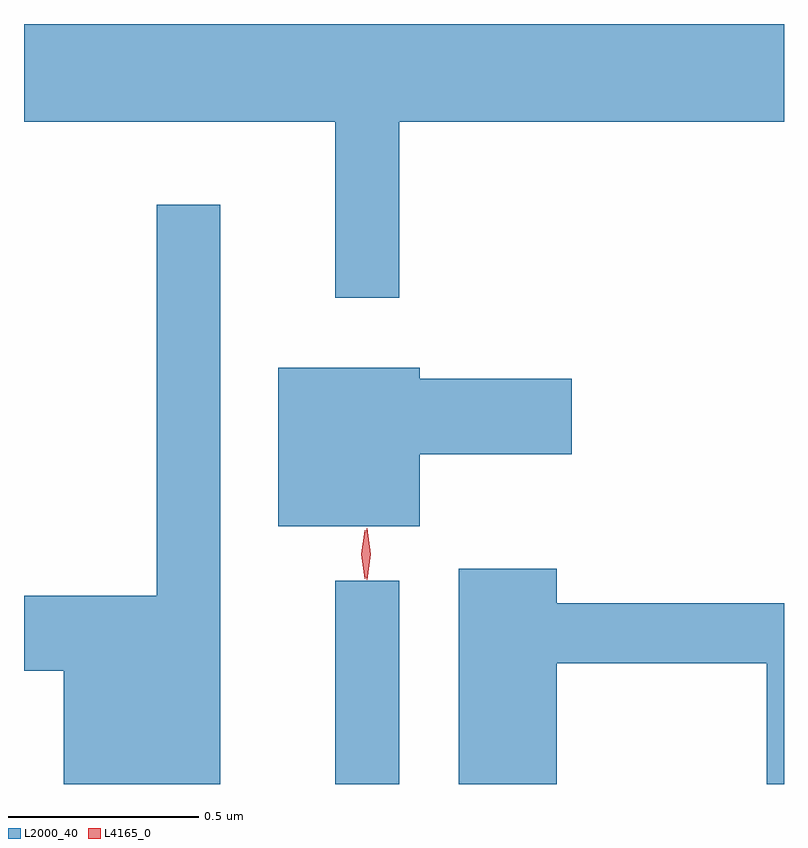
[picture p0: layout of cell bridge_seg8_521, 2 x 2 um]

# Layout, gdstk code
import gdstk
lib = gdstk.Library(unit=1e-6, precision=1e-09)
def R(c, l, rs):  # rectangles x0, y0, x1, y1
    for r in rs: c.add(gdstk.rectangle(r[:2], r[2:], *l))
def P(c, l, *ps):  # polygons
    for p in ps: c.add(gdstk.Polygon(p, *l))
L2000_40 = (2000, 40)
L4165_0 = (4165, 0)

bridge_seg8_521 = lib.new_cell('bridge_seg8_521')
R(bridge_seg8_521, L2000_40, [(261.891,1861.313,262.059,1861.848)])
P(bridge_seg8_521, L2000_40, [(262.059,1863.056),(263.072,1863.056),(263.072,1863.313),(261.072,1863.313),(261.072,1863.056),(261.891,1863.056),(261.891,1862.593),(262.059,1862.593)],
  [(261.589,1862.838),(261.421,1862.838),(261.421,1861.809),(261.072,1861.809),(261.072,1861.611),(261.176,1861.611),(261.176,1861.313),(261.589,1861.313)],
  [(262.114,1862.181),(262.514,1862.181),(262.514,1862.379),(262.114,1862.379),(262.114,1862.409),(261.741,1862.409),(261.741,1861.991),(262.114,1861.991)],
  [(262.474,1861.631),(263.026,1861.631),(263.026,1861.313),(263.072,1861.313),(263.072,1861.789),(262.474,1861.789),(262.474,1861.879),(262.216,1861.879),(262.216,1861.313),(262.474,1861.313)])
P(bridge_seg8_521, L4165_0, [(261.969,1861.853),(261.96,1861.917),(261.969,1861.981),(261.969,1861.981),(261.97,1861.981),(261.98,1861.917),(261.97,1861.853),(261.97,1861.853)],
  [(261.974,1861.85),(261.965,1861.918),(261.974,1861.986),(261.975,1861.986),(261.975,1861.986),(261.985,1861.918),(261.975,1861.85),(261.975,1861.85)])

lib.write_gds('bridge_seg8_521.gds')
